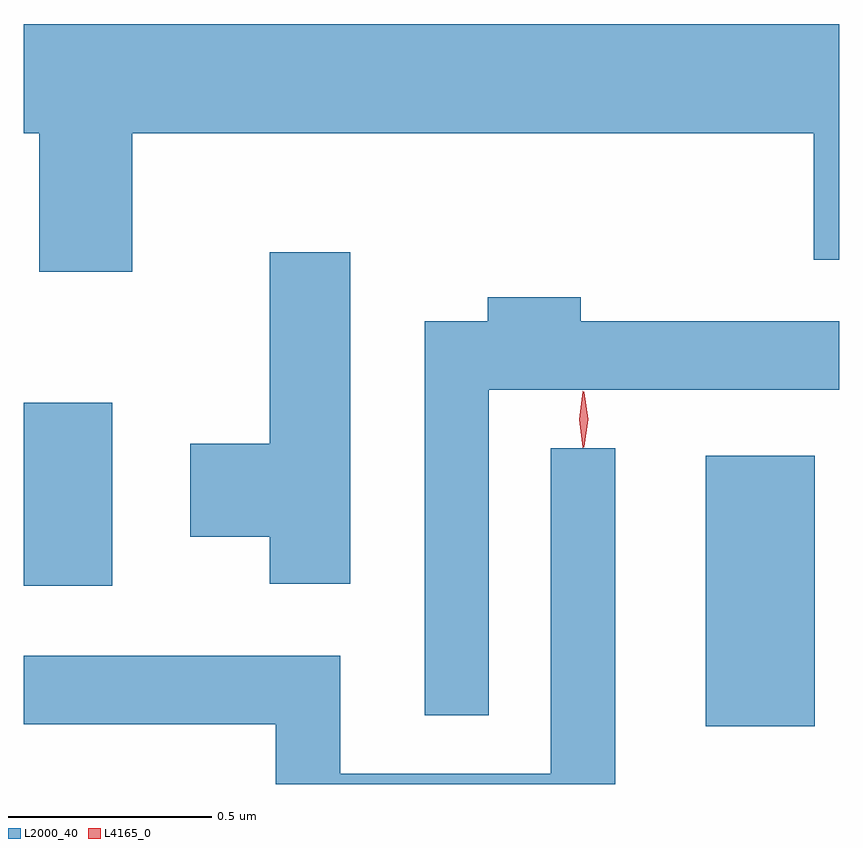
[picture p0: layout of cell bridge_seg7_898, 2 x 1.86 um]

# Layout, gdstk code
import gdstk
lib = gdstk.Library(unit=1e-6, precision=1e-09)
def R(c, l, rs):  # rectangles x0, y0, x1, y1
    for r in rs: c.add(gdstk.rectangle(r[:2], r[2:], *l))
def P(c, l, *ps):  # polygons
    for p in ps: c.add(gdstk.Polygon(p, *l))
L2000_40 = (2000, 40)
L4165_0 = (4165, 0)

bridge_seg7_898 = lib.new_cell('bridge_seg7_898')
R(bridge_seg7_898, L2000_40, [(317.746,1684.001,318.014,1684.664), (316.073,1684.346,316.289,1684.794)])
P(bridge_seg7_898, L2000_40, [(316.339,1685.456),(318.011,1685.456),(318.011,1685.146),(318.073,1685.146),(318.073,1685.724),(316.073,1685.724),(316.073,1685.456),(316.111,1685.456),(316.111,1685.116),(316.339,1685.116)],
  [(316.874,1685.164),(316.676,1685.164),(316.676,1684.694),(316.481,1684.694),(316.481,1684.466),(316.676,1684.466),(316.676,1684.351),(316.874,1684.351)],
  [(317.214,1684.826),(318.073,1684.826),(318.073,1684.994),(317.439,1684.994),(317.439,1685.054),(317.211,1685.054),(317.211,1684.994),(317.056,1684.994),(317.056,1684.028),(317.214,1684.028)],
  [(317.524,1684.683),(317.366,1684.683),(317.366,1683.884),(316.849,1683.884),(316.849,1684.174),(316.073,1684.174),(316.073,1684.006),(316.691,1684.006),(316.691,1683.859),(317.524,1683.859)])
P(bridge_seg7_898, L4165_0, [(317.444,1684.684),(317.435,1684.753),(317.444,1684.823),(317.445,1684.823),(317.445,1684.823),(317.455,1684.753),(317.445,1684.684),(317.445,1684.684)],
  [(317.447,1684.687),(317.438,1684.754),(317.447,1684.82),(317.448,1684.821),(317.448,1684.82),(317.458,1684.754),(317.448,1684.687),(317.448,1684.687)])

lib.write_gds('bridge_seg7_898.gds')
